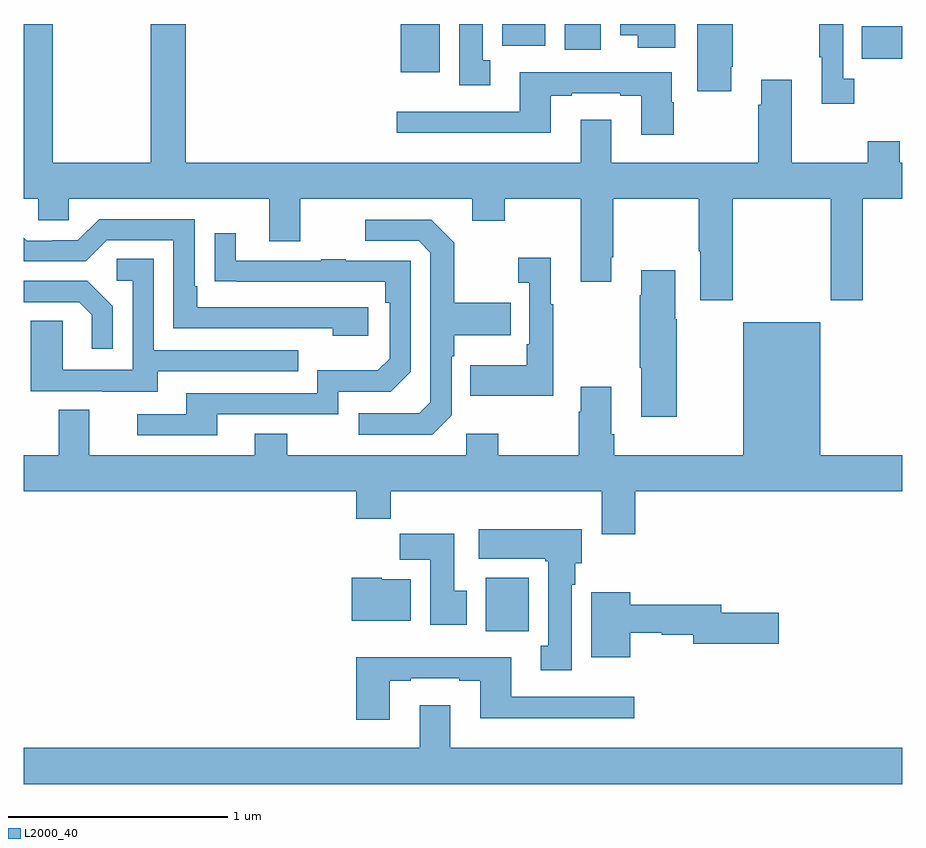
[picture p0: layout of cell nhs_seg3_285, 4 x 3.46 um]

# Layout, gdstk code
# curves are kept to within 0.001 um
import gdstk
lib = gdstk.Library(unit=1e-6, precision=1e-09)
def R(c, l, rs):  # rectangles x0, y0, x1, y1
    for r in rs: c.add(gdstk.rectangle(r[:2], r[2:], *l))
def P(c, l, *ps):  # polygons
    for p in ps: c.add(gdstk.Polygon(p, *l))
L2000_40 = (2000, 40)

nhs_seg3_285 = lib.new_cell('nhs_seg3_285')
R(nhs_seg3_285, L2000_40, [(127.103,677.636,127.3,677.878), (126.716,680.18,126.895,680.4), (128.815,680.242,129,680.389), (127.463,680.283,127.627,680.4), (127.178,680.3,127.375,680.4)])
P(nhs_seg3_285, L2000_40, [(128.782,680.15),(128.73,680.15),(128.73,680.4),(128.622,680.4),(128.622,680.249),(128.633,680.249),(128.633,680.037),(128.782,680.037)],
  [(127.123,680.234),(127.09,680.234),(127.09,680.4),(126.983,680.4),(126.983,680.121),(127.123,680.121)],
  [(128.221,680.206),(128.229,680.206),(128.229,680.4),(128.066,680.4),(128.066,680.094),(128.221,680.094)],
  [(128.229,679.604),(128.674,679.604),(128.674,679.143),(128.821,679.143),(128.821,679.604),(129,679.604),(129,679.768),(128.989,679.768),(128.989,679.867),(128.842,679.867),(128.842,679.768),(128.497,679.768),(128.497,680.146),(128.357,680.146),(128.357,680.033),(128.345,680.033),(128.345,679.768),(127.675,679.768),(127.675,679.963),(127.535,679.963),(127.535,679.768),(125.738,679.768),(125.738,680.4),(125.578,680.4),(125.578,679.768),(125.133,679.768),(125.133,680.4),(125,680.4),(125,679.604),(125.067,679.604),(125.067,679.506),(125.205,679.506),(125.205,679.604),(126.119,679.604),(126.119,679.41),(126.259,679.41),(126.259,679.604),(127.043,679.604),(127.043,679.505),(127.191,679.505),(127.191,679.604),(127.535,679.604),(127.535,679.227),(127.675,679.227),(127.675,679.339),(127.683,679.339),(127.683,679.604),(128.074,679.604),(128.074,679.366),(128.081,679.366),(128.081,679.143),(128.229,679.143)],
  [(127.966,680.4),(127.715,680.4),(127.715,680.348),(127.796,680.348),(127.796,680.291),(127.966,680.291)],
  [(127.959,680.043),(127.951,680.043),(127.951,680.181),(127.259,680.181),(127.259,680.001),(126.699,680.001),(126.699,679.904),(127.399,679.904),(127.399,680.073),(127.495,680.073),(127.495,680.085),(127.715,680.085),(127.715,680.073),(127.811,680.073),(127.811,679.896),(127.959,679.896)],
  [(126.568,679.11),(125.791,679.11),(125.791,679.207),(125.778,679.207),(125.778,679.512),(125.343,679.512),(125.247,679.416),(125.129,679.416),(125.129,679.413),(125.013,679.413),(125,679.426),(125,679.32),(125.283,679.32),(125.379,679.416),(125.682,679.416),(125.682,679.014),(126.407,679.014),(126.407,678.98),(126.568,678.98)],
  [(126.948,678.618),(126.948,678.887),(126.961,678.887),(126.961,678.983),(127.217,678.983),(127.217,679.131),(126.961,679.131),(126.961,679.403),(126.855,679.509),(126.555,679.509),(126.555,679.413),(126.798,679.413),(126.852,679.359),(126.852,678.678),(126.801,678.627),(126.525,678.627),(126.525,678.531),(126.861,678.531)],
  [(125.881,678.624),(126.432,678.624),(126.432,678.726),(126.672,678.726),(126.762,678.816),(126.762,679.323),(126.467,679.323),(126.467,679.328),(126.355,679.328),(126.355,679.323),(125.965,679.323),(125.965,679.447),(125.869,679.447),(125.869,679.228),(126.646,679.227),(126.646,679.13),(126.666,679.13),(126.666,678.876),(126.613,678.823),(126.336,678.823),(126.336,678.72),(125.741,678.72),(125.741,678.624),(125.517,678.624),(125.517,678.528),(125.881,678.528)],
  [(127.411,679.123),(127.399,679.123),(127.399,679.336),(127.251,679.336),(127.251,679.223),(127.302,679.223),(127.302,678.943),(127.29,678.943),(127.29,678.847),(127.033,678.847),(127.033,678.707),(127.411,678.707)],
  [(125.611,678.819),(126.251,678.819),(126.251,678.915),(125.592,678.915),(125.592,679.331),(125.424,679.331),(125.424,679.23),(125.496,679.23),(125.496,678.825),(125.178,678.825),(125.178,679.049),(125.033,679.049),(125.033,678.729),(125.357,678.729),(125.357,678.725),(125.611,678.725)],
  [(127.974,679.055),(127.966,679.055),(127.966,679.279),(127.811,679.279),(127.811,679.166),(127.804,679.166),(127.804,678.835),(127.811,678.835),(127.811,678.612),(127.974,678.612)],
  [(125.406,679.114),(125.29,679.23),(125,679.23),(125,679.134),(125.252,679.134),(125.309,679.077),(125.309,678.921),(125.406,678.921)],
  [(127.784,678.272),(129,678.272),(129,678.436),(128.626,678.436),(128.626,679.042),(128.276,679.042),(128.276,678.436),(127.688,678.436),(127.688,678.532),(127.675,678.532),(127.675,678.748),(127.535,678.748),(127.535,678.635),(127.528,678.635),(127.528,678.436),(127.161,678.436),(127.161,678.535),(127.014,678.535),(127.014,678.436),(126.201,678.436),(126.201,678.535),(126.053,678.535),(126.053,678.436),(125.299,678.436),(125.299,678.644),(125.159,678.644),(125.159,678.436),(125,678.436),(125,678.272),(126.515,678.272),(126.515,678.148),(126.671,678.148),(126.671,678.272),(127.631,678.272),(127.631,678.078),(127.784,678.078)],
  [(127.495,677.846),(127.51,677.846),(127.51,677.946),(127.54,677.946),(127.54,678.1),(127.071,678.1),(127.071,677.966),(127.375,677.966),(127.375,677.953),(127.388,677.953),(127.388,677.57),(127.355,677.57),(127.355,677.457),(127.495,677.457)],
  [(127.018,677.82),(126.961,677.82),(126.961,678.079),(126.712,678.079),(126.712,677.96),(126.851,677.96),(126.851,677.664),(127.018,677.664)],
  [(126.763,677.872),(126.63,677.872),(126.63,677.878),(126.494,677.878),(126.494,677.684),(126.763,677.684)],
  [(127.762,677.628),(127.905,677.628),(127.905,677.62),(128.048,677.62),(128.048,677.578),(128.437,677.578),(128.437,677.72),(128.176,677.72),(128.176,677.756),(127.762,677.756),(127.762,677.812),(127.583,677.812),(127.583,677.516),(127.762,677.516)],
  [(126.667,677.409),(126.763,677.409),(126.763,677.421),(126.983,677.421),(126.983,677.409),(127.079,677.409),(127.079,677.24),(127.78,677.24),(127.78,677.337),(127.219,677.337),(127.219,677.518),(126.515,677.518),(126.515,677.232),(126.667,677.232)],
  [(129,677.104),(126.943,677.104),(126.943,677.299),(126.803,677.299),(126.803,677.104),(125,677.104),(125,676.94),(129,676.94)])

lib.write_gds('nhs_seg3_285.gds')
